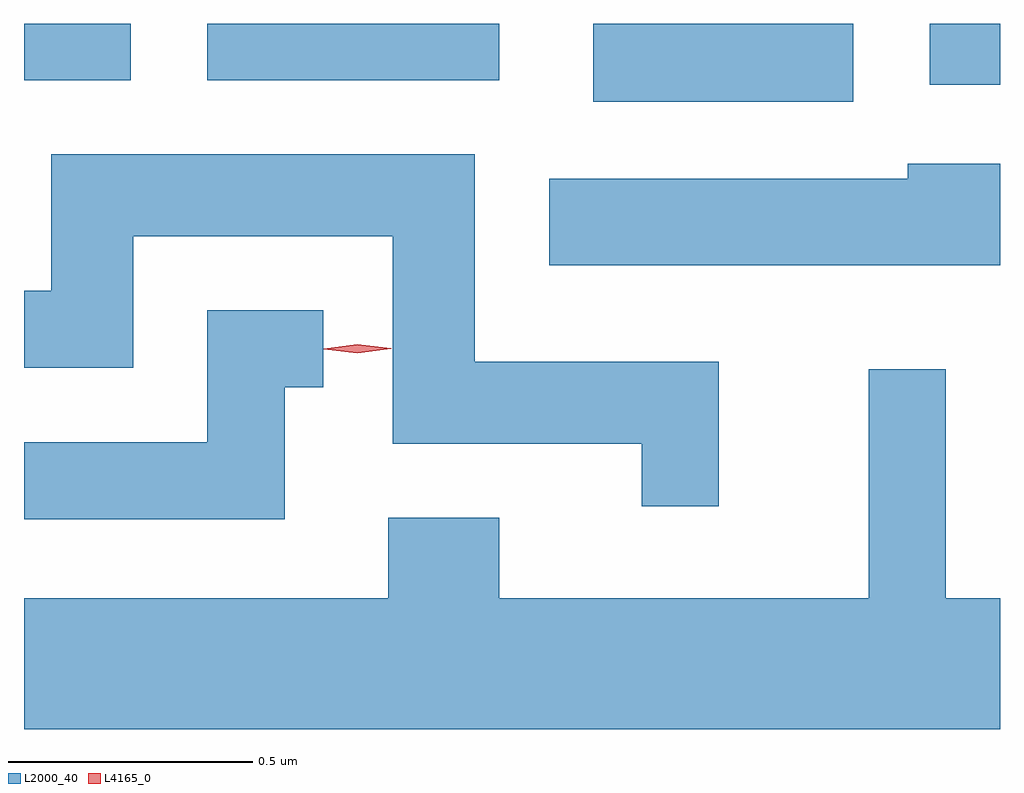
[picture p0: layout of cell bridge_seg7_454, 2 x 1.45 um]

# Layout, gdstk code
import gdstk
lib = gdstk.Library(unit=1e-6, precision=1e-09)
def R(c, l, rs):  # rectangles x0, y0, x1, y1
    for r in rs: c.add(gdstk.rectangle(r[:2], r[2:], *l))
def P(c, l, *ps):  # polygons
    for p in ps: c.add(gdstk.Polygon(p, *l))
L2000_40 = (2000, 40)
L4165_0 = (4165, 0)

bridge_seg7_454 = lib.new_cell('bridge_seg7_454')
R(bridge_seg7_454, L2000_40, [(1186.611,1711.161,1187.144,1711.321), (1187.301,1711.196,1187.445,1711.321), (1185.445,1711.206,1185.664,1711.321), (1185.821,1711.206,1186.419,1711.321)])
P(bridge_seg7_454, L2000_40, [(1186.869,1710.629),(1186.369,1710.629),(1186.369,1711.054),(1185.501,1711.054),(1185.501,1710.774),(1185.445,1710.774),(1185.445,1710.616),(1185.669,1710.616),(1185.669,1710.886),(1186.201,1710.886),(1186.201,1710.461),(1186.711,1710.461),(1186.711,1710.333),(1186.869,1710.333)],
  [(1187.445,1711.034),(1187.256,1711.034),(1187.256,1711.004),(1186.521,1711.004),(1186.521,1710.826),(1187.445,1710.826)],
  [(1185.979,1710.576),(1186.058,1710.576),(1186.058,1710.734),(1185.821,1710.734),(1185.821,1710.464),(1185.445,1710.464),(1185.445,1710.306),(1185.979,1710.306)],
  [(1187.445,1710.144),(1187.334,1710.144),(1187.334,1710.613),(1187.176,1710.613),(1187.176,1710.144),(1186.419,1710.144),(1186.419,1710.309),(1186.191,1710.309),(1186.191,1710.144),(1185.445,1710.144),(1185.445,1709.876),(1187.445,1709.876)])
P(bridge_seg7_454, L4165_0, [(1186.128,1710.646),(1186.059,1710.654),(1186.059,1710.655),(1186.059,1710.655),(1186.128,1710.665),(1186.198,1710.656),(1186.198,1710.656),(1186.198,1710.655)])

lib.write_gds('bridge_seg7_454.gds')
